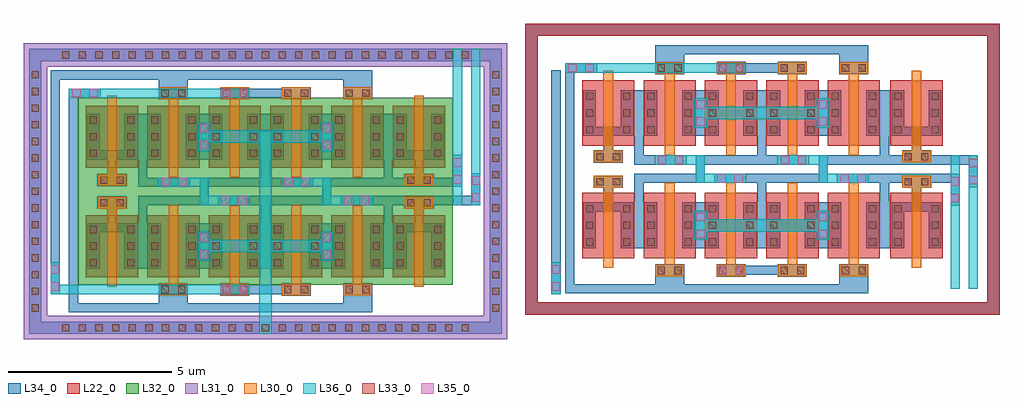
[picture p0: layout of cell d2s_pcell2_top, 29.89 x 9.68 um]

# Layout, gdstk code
import gdstk
lib = gdstk.Library(unit=1e-6, precision=5e-09)
def R(c, l, rs):  # rectangles x0, y0, x1, y1
    for r in rs: c.add(gdstk.rectangle(r[:2], r[2:], *l))
def A(c, l, x, y, w, h, nx, ny, dx, dy):  # array of equal rectangles
    R(c, l, [(x+i*dx, y+j*dy, x+i*dx+w, y+j*dy+h) for i in range(nx) for j in range(ny)])
L22_0 = (22, 0)
L30_0 = (30, 0)
L31_0 = (31, 0)
L32_0 = (32, 0)
L33_0 = (33, 0)
L34_0 = (34, 0)
L35_0 = (35, 0)
L36_0 = (36, 0)

d2s_pcell2_1_1 = lib.new_cell('d2s_pcell2_1$1')
R(d2s_pcell2_1_1, L22_0, [(0,0.3,0.46,2.3), (0.46,0.3,1.14,2.3), (1.14,0.3,1.6,2.3)])
R(d2s_pcell2_1_1, L30_0, [(0.65,0,0.95,2.6)])
A(d2s_pcell2_1_1, L33_0, 0.12, 0.68, 0.22, 0.22, 1, 3, 0, 0.51)
A(d2s_pcell2_1_1, L33_0, 1.26, 0.68, 0.22, 0.22, 1, 3, 0, 0.51)
R(d2s_pcell2_1_1, L34_0, [(0.04,0.6,0.42,2), (1.18,0.6,1.56,2)])

d2s_pcell2_4 = lib.new_cell('d2s_pcell2_4')
A(d2s_pcell2_4, L30_0, 2.245, 2.725, 0.87, 0.36, 4, 1, 1.88, 0)
R(d2s_pcell2_4, L30_0, [(0.365,0.01,1.235,0.37), (9.805,0.01,10.675,0.37)])
R(d2s_pcell2_4, L33_0, [(0.435,0.08,0.655,0.3), (0.945,0.08,1.165,0.3), (9.875,0.08,10.095,0.3), (10.385,0.08,10.605,0.3), (2.315,2.795,2.535,3.015), (2.825,2.795,3.045,3.015), (4.195,2.795,4.415,3.015), (4.705,2.795,4.925,3.015), (6.075,2.795,6.295,3.015), (6.585,2.795,6.805,3.015), (7.955,2.795,8.175,3.015), (8.465,2.795,8.685,3.015)])
A(d2s_pcell2_4, L34_0, 1.56, 0.825, 0.36, 1.4, 5, 1, 1.88, 0)
R(d2s_pcell2_4, L34_0, [(0.355,0,1.245,0.38), (9.795,0,10.685,0.38), (2.235,2.715,3.125,3.605), (4.115,2.715,5.005,3.095), (5.995,2.715,6.885,3.095), (7.875,2.715,8.765,3.605)])
R(d2s_pcell2_4, L35_0, [(3.49,1.135,3.75,1.395), (7.25,1.135,7.51,1.395), (3.49,1.655,3.75,1.915), (7.25,1.655,7.51,1.915), (4.17,2.775,4.43,3.035), (4.69,2.775,4.95,3.035)])
R(d2s_pcell2_4, L36_0, [(3.43,1.08,3.81,1.97), (7.19,1.08,7.57,1.97)])
d2s_pcell2_4.add(gdstk.FlexPath([(0.8,0.38),(0.8,0.825)], 0.28, ends="flush", simple_path=True, layer=34, datatype=0))  # L34_0
d2s_pcell2_4.add(gdstk.FlexPath([(1.18,0.965),(0.42,0.965)], 0.28, ends="flush", simple_path=True, layer=34, datatype=0))  # L34_0
d2s_pcell2_4.add(gdstk.FlexPath([(10.24,0.38),(10.24,0.825)], 0.28, ends="flush", simple_path=True, layer=34, datatype=0))  # L34_0
d2s_pcell2_4.add(gdstk.FlexPath([(10.62,0.965),(9.86,0.965)], 0.28, ends="flush", simple_path=True, layer=34, datatype=0))  # L34_0
d2s_pcell2_4.add(gdstk.FlexPath([(5.995,2.905),(5.005,2.905)], 0.28, ends="flush", simple_path=True, layer=34, datatype=0))  # L34_0
d2s_pcell2_4.add(gdstk.FlexPath([(8.765,3.465),(2.235,3.465)], 0.28, ends="flush", simple_path=True, layer=34, datatype=0))  # L34_0
d2s_pcell2_4.add(gdstk.FlexPath([(3.81,1.525),(7.19,1.525)], 0.38, ends="flush", simple_path=True, layer=36, datatype=0))  # L36_0
d2s_pcell2_4.add(gdstk.Reference(d2s_pcell2_1_1, (0,0.225)))
d2s_pcell2_4.add(gdstk.Reference(d2s_pcell2_1_1, (1.88,0.225)))
d2s_pcell2_4.add(gdstk.Reference(d2s_pcell2_1_1, (3.76,0.225)))
d2s_pcell2_4.add(gdstk.Reference(d2s_pcell2_1_1, (5.64,0.225)))
d2s_pcell2_4.add(gdstk.Reference(d2s_pcell2_1_1, (7.52,0.225)))
d2s_pcell2_4.add(gdstk.Reference(d2s_pcell2_1_1, (9.44,0.225)))

d2s_ncell_1_1_1 = lib.new_cell('d2s_ncell_1$1$1')
R(d2s_ncell_1_1_1, L22_0, [(0,0.3,0.46,2.2), (0.46,0.3,1.14,2.2), (1.14,0.3,1.6,2.2)])
R(d2s_ncell_1_1_1, L30_0, [(0.65,0,0.95,2.5)])
A(d2s_ncell_1_1_1, L33_0, 0.12, 0.63, 0.22, 0.22, 1, 3, 0, 0.51)
A(d2s_ncell_1_1_1, L33_0, 1.26, 0.63, 0.22, 0.22, 1, 3, 0, 0.51)
R(d2s_ncell_1_1_1, L34_0, [(0.04,0.55,0.42,1.95), (1.18,0.55,1.56,1.95)])

d2s_ncell_4_1 = lib.new_cell('d2s_ncell_4$1')
A(d2s_ncell_4_1, L30_0, 2.245, 2.4, 0.87, 0.36, 4, 1, 1.88, 0)
R(d2s_ncell_4_1, L30_0, [(0.365,-0.26,1.235,0.1), (9.765,-0.26,10.635,0.1)])
R(d2s_ncell_4_1, L33_0, [(0.435,-0.19,0.655,0.03), (0.945,-0.19,1.165,0.03), (9.835,-0.19,10.055,0.03), (10.345,-0.19,10.565,0.03), (2.315,2.47,2.535,2.69), (2.825,2.47,3.045,2.69), (4.195,2.47,4.415,2.69), (4.705,2.47,4.925,2.69), (6.075,2.47,6.295,2.69), (6.585,2.47,6.805,2.69), (7.955,2.47,8.175,2.69), (8.465,2.47,8.685,2.69)])
A(d2s_ncell_4_1, L34_0, 1.56, 0.55, 0.36, 1.4, 5, 1, 1.88, 0)
R(d2s_ncell_4_1, L34_0, [(0.355,-0.27,1.245,0.11), (9.755,-0.27,10.645,0.11), (2.235,2.39,3.125,3.28), (4.115,2.39,5.005,2.77), (5.995,2.39,6.885,2.77), (7.875,2.39,8.765,3.28)])
R(d2s_ncell_4_1, L35_0, [(3.49,0.86,3.75,1.12), (7.25,0.86,7.51,1.12), (3.49,1.38,3.75,1.64), (7.25,1.38,7.51,1.64), (4.17,2.45,4.43,2.71), (4.69,2.45,4.95,2.71)])
R(d2s_ncell_4_1, L36_0, [(3.43,0.805,3.81,1.695), (7.19,0.805,7.57,1.695)])
d2s_ncell_4_1.add(gdstk.FlexPath([(0.8,0.11),(0.8,0.55)], 0.28, ends="flush", simple_path=True, layer=34, datatype=0))  # L34_0
d2s_ncell_4_1.add(gdstk.FlexPath([(0.42,0.69),(1.18,0.69)], 0.28, ends="flush", simple_path=True, layer=34, datatype=0))  # L34_0
d2s_ncell_4_1.add(gdstk.FlexPath([(9.82,0.69),(10.58,0.69)], 0.28, ends="flush", simple_path=True, layer=34, datatype=0))  # L34_0
d2s_ncell_4_1.add(gdstk.FlexPath([(10.2,0.11),(10.2,0.55)], 0.28, ends="flush", simple_path=True, layer=34, datatype=0))  # L34_0
d2s_ncell_4_1.add(gdstk.FlexPath([(5.995,2.58),(5.005,2.58)], 0.28, ends="flush", simple_path=True, layer=34, datatype=0))  # L34_0
d2s_ncell_4_1.add(gdstk.FlexPath([(8.765,3.14),(2.235,3.14)], 0.28, ends="flush", simple_path=True, layer=34, datatype=0))  # L34_0
d2s_ncell_4_1.add(gdstk.FlexPath([(3.81,1.25),(7.19,1.25)], 0.38, ends="flush", simple_path=True, layer=36, datatype=0))  # L36_0
d2s_ncell_4_1.add(gdstk.Reference(d2s_ncell_1_1_1, (0,0)))
d2s_ncell_4_1.add(gdstk.Reference(d2s_ncell_1_1_1, (1.88,0)))
d2s_ncell_4_1.add(gdstk.Reference(d2s_ncell_1_1_1, (3.76,0)))
d2s_ncell_4_1.add(gdstk.Reference(d2s_ncell_1_1_1, (5.64,0)))
d2s_ncell_4_1.add(gdstk.Reference(d2s_ncell_1_1_1, (7.52,0)))
d2s_ncell_4_1.add(gdstk.Reference(d2s_ncell_1_1_1, (9.4,0)))

d2s_pcell2_top = lib.new_cell('d2s_pcell2_top')
R(d2s_pcell2_top, L32_0, [(-13.66,0.85,-2.18,6.58)])
A(d2s_pcell2_top, L33_0, -14.15, -0.57, 0.22, 0.22, 25, 2, 0.51, 8.35)
A(d2s_pcell2_top, L33_0, -15.08, 0.035, 0.22, 0.22, 1, 15, 0, 0.51)
A(d2s_pcell2_top, L33_0, -0.98, 0.035, 0.22, 0.22, 1, 15, 0, 0.51)
R(d2s_pcell2_top, L35_0, [(-14.49,0.67,-14.23,0.93), (0.845,0.67,1.105,0.93), (-14.49,1.19,-14.23,1.45), (0.845,1.19,1.105,1.45), (-9.28,3.305,-9.02,3.565), (-8.76,3.305,-8.5,3.565), (-5.52,3.305,-5.26,3.565), (-5,3.305,-4.74,3.565), (13.065,3.375,13.325,3.635), (-1.61,3.395,-1.35,3.655), (-11.1,3.865,-10.84,4.125), (-10.58,3.865,-10.32,4.125), (-7.34,3.865,-7.08,4.125), (-6.82,3.865,-6.56,4.125), (13.065,3.895,13.325,4.155), (-1.61,3.915,-1.35,4.175), (13.625,3.935,13.885,4.195), (-2.17,3.955,-1.91,4.215), (5.915,3.985,6.175,4.245), (6.435,3.985,6.695,4.245), (9.675,3.985,9.935,4.245), (10.195,3.985,10.455,4.245), (13.625,4.455,13.885,4.715), (-2.17,4.475,-1.91,4.735), (4.095,4.545,4.355,4.805), (4.615,4.545,4.875,4.805), (7.855,4.545,8.115,4.805), (8.375,4.545,8.635,4.805), (-13.84,6.59,-13.58,6.85), (-13.32,6.59,-13.06,6.85), (1.355,7.365,1.615,7.625), (1.875,7.365,2.135,7.625)])
d2s_pcell2_top.add(gdstk.FlexPath([(-13.8,6.86),(-13.8,0.29)], 0.28, ends="flush", simple_path=True, layer=34, datatype=0))  # L34_0
d2s_pcell2_top.add(gdstk.FlexPath([(-14.36,7.42),(-14.36,0.57)], 0.28, ends="flush", simple_path=True, layer=34, datatype=0))  # L34_0
d2s_pcell2_top.add(gdstk.FlexPath([(-2.04,4.835),(-2.04,3.855)], 0.28, ends="flush", simple_path=True, layer=34, datatype=0))  # L34_0
d2s_pcell2_top.add(gdstk.FlexPath([(-4.02,3.435),(-1.62,3.435)], 0.28, ends="flush", simple_path=True, layer=34, datatype=0))  # L34_0
d2s_pcell2_top.add(gdstk.FlexPath([(-1.48,4.275),(-1.48,3.295)], 0.28, ends="flush", simple_path=True, layer=34, datatype=0))  # L34_0
d2s_pcell2_top.add(gdstk.FlexPath([(-12.96,6.72),(-13.94,6.72)], 0.28, ends="flush", simple_path=True, layer=34, datatype=0))  # L34_0
d2s_pcell2_top.add(gdstk.FlexPath([(-11.185,7.28),(-14.22,7.28)], 0.28, ends="flush", simple_path=True, layer=34, datatype=0))  # L34_0
d2s_pcell2_top.add(gdstk.FlexPath([(-11.185,0.15),(-13.94,0.15)], 0.28, ends="flush", simple_path=True, layer=34, datatype=0))  # L34_0
d2s_pcell2_top.add(gdstk.FlexPath([(-0.87,8.08),(-0.87,-0.46),(-14.97,-0.46),(-14.97,7.89),(-1.06,7.89)], 0.38, ends="flush", simple_path=True, layer=34, datatype=0))  # L34_0
d2s_pcell2_top.add(gdstk.FlexPath([(-4.16,4.69),(-4.16,4.135)], 0.28, ends="flush", simple_path=True, layer=34, datatype=0))  # L34_0
d2s_pcell2_top.add(gdstk.FlexPath([(-7.92,4.69),(-7.92,4.135)], 0.28, ends="flush", simple_path=True, layer=34, datatype=0))  # L34_0
d2s_pcell2_top.add(gdstk.FlexPath([(-11.68,4.69),(-11.68,4.135)], 0.28, ends="flush", simple_path=True, layer=34, datatype=0))  # L34_0
d2s_pcell2_top.add(gdstk.FlexPath([(-8.4,3.995),(-9.8,3.995),(-9.8,3.435),(-11.2,3.435)], 0.28, ends="flush", simple_path=True, layer=34, datatype=0))  # L34_0
d2s_pcell2_top.add(gdstk.FlexPath([(-10.22,3.995),(-11.2,3.995)], 0.28, ends="flush", simple_path=True, layer=34, datatype=0))  # L34_0
d2s_pcell2_top.add(gdstk.FlexPath([(-8.4,3.435),(-9.38,3.435)], 0.28, ends="flush", simple_path=True, layer=34, datatype=0))  # L34_0
d2s_pcell2_top.add(gdstk.FlexPath([(-8.4,3.995),(-7.44,3.995)], 0.28, ends="flush", simple_path=True, layer=34, datatype=0))  # L34_0
d2s_pcell2_top.add(gdstk.FlexPath([(-8.4,3.435),(-7.44,3.435)], 0.28, ends="flush", simple_path=True, layer=34, datatype=0))  # L34_0
d2s_pcell2_top.add(gdstk.FlexPath([(-11.2,3.995),(-11.82,3.995)], 0.28, ends="flush", simple_path=True, layer=34, datatype=0))  # L34_0
d2s_pcell2_top.add(gdstk.FlexPath([(-11.2,3.435),(-11.82,3.435)], 0.28, ends="flush", simple_path=True, layer=34, datatype=0))  # L34_0
d2s_pcell2_top.add(gdstk.FlexPath([(-7.92,4.69),(-7.92,4.135)], 0.28, ends="flush", simple_path=True, layer=34, datatype=0))  # L34_0
d2s_pcell2_top.add(gdstk.FlexPath([(-4.64,3.995),(-6.04,3.995),(-6.04,3.435),(-7.44,3.435)], 0.28, ends="flush", simple_path=True, layer=34, datatype=0))  # L34_0
d2s_pcell2_top.add(gdstk.FlexPath([(-6.46,3.995),(-7.44,3.995)], 0.28, ends="flush", simple_path=True, layer=34, datatype=0))  # L34_0
d2s_pcell2_top.add(gdstk.FlexPath([(-4.64,3.435),(-5.62,3.435)], 0.28, ends="flush", simple_path=True, layer=34, datatype=0))  # L34_0
d2s_pcell2_top.add(gdstk.FlexPath([(-4.02,3.995),(-4.64,3.995)], 0.28, ends="flush", simple_path=True, layer=34, datatype=0))  # L34_0
d2s_pcell2_top.add(gdstk.FlexPath([(-4.02,3.435),(-4.64,3.435)], 0.28, ends="flush", simple_path=True, layer=34, datatype=0))  # L34_0
d2s_pcell2_top.add(gdstk.FlexPath([(-4.16,3.295),(-4.16,2.74)], 0.28, ends="flush", simple_path=True, layer=34, datatype=0))  # L34_0
d2s_pcell2_top.add(gdstk.FlexPath([(-7.92,3.295),(-7.92,2.74)], 0.28, ends="flush", simple_path=True, layer=34, datatype=0))  # L34_0
d2s_pcell2_top.add(gdstk.FlexPath([(-11.68,3.295),(-11.68,2.74)], 0.28, ends="flush", simple_path=True, layer=34, datatype=0))  # L34_0
d2s_pcell2_top.add(gdstk.FlexPath([(-7.92,3.295),(-7.92,2.74)], 0.28, ends="flush", simple_path=True, layer=34, datatype=0))  # L34_0
d2s_pcell2_top.add(gdstk.FlexPath([(-4.02,3.995),(-2.18,3.995)], 0.28, ends="flush", simple_path=True, layer=34, datatype=0))  # L34_0
d2s_pcell2_top.add(gdstk.FlexPath([(11.035,5.415),(11.035,4.815)], 0.28, ends="flush", simple_path=True, layer=34, datatype=0))  # L34_0
d2s_pcell2_top.add(gdstk.FlexPath([(7.275,5.415),(7.275,4.815)], 0.28, ends="flush", simple_path=True, layer=34, datatype=0))  # L34_0
d2s_pcell2_top.add(gdstk.FlexPath([(3.515,5.415),(3.515,4.815)], 0.28, ends="flush", simple_path=True, layer=34, datatype=0))  # L34_0
d2s_pcell2_top.add(gdstk.FlexPath([(6.795,4.675),(5.395,4.675),(5.395,4.115),(3.995,4.115)], 0.28, ends="flush", simple_path=True, layer=34, datatype=0))  # L34_0
d2s_pcell2_top.add(gdstk.FlexPath([(4.975,4.675),(3.995,4.675)], 0.28, ends="flush", simple_path=True, layer=34, datatype=0))  # L34_0
d2s_pcell2_top.add(gdstk.FlexPath([(6.795,4.115),(5.815,4.115)], 0.28, ends="flush", simple_path=True, layer=34, datatype=0))  # L34_0
d2s_pcell2_top.add(gdstk.FlexPath([(6.795,4.675),(7.755,4.675)], 0.28, ends="flush", simple_path=True, layer=34, datatype=0))  # L34_0
d2s_pcell2_top.add(gdstk.FlexPath([(6.795,4.115),(7.755,4.115)], 0.28, ends="flush", simple_path=True, layer=34, datatype=0))  # L34_0
d2s_pcell2_top.add(gdstk.FlexPath([(3.995,4.675),(3.375,4.675)], 0.28, ends="flush", simple_path=True, layer=34, datatype=0))  # L34_0
d2s_pcell2_top.add(gdstk.FlexPath([(3.995,4.115),(3.375,4.115)], 0.28, ends="flush", simple_path=True, layer=34, datatype=0))  # L34_0
d2s_pcell2_top.add(gdstk.FlexPath([(7.275,5.415),(7.275,4.815)], 0.28, ends="flush", simple_path=True, layer=34, datatype=0))  # L34_0
d2s_pcell2_top.add(gdstk.FlexPath([(10.555,4.675),(9.155,4.675),(9.155,4.115),(7.755,4.115)], 0.28, ends="flush", simple_path=True, layer=34, datatype=0))  # L34_0
d2s_pcell2_top.add(gdstk.FlexPath([(8.735,4.675),(7.755,4.675)], 0.28, ends="flush", simple_path=True, layer=34, datatype=0))  # L34_0
d2s_pcell2_top.add(gdstk.FlexPath([(10.555,4.115),(9.575,4.115)], 0.28, ends="flush", simple_path=True, layer=34, datatype=0))  # L34_0
d2s_pcell2_top.add(gdstk.FlexPath([(11.175,4.675),(10.555,4.675)], 0.28, ends="flush", simple_path=True, layer=34, datatype=0))  # L34_0
d2s_pcell2_top.add(gdstk.FlexPath([(11.175,4.115),(10.555,4.115)], 0.28, ends="flush", simple_path=True, layer=34, datatype=0))  # L34_0
d2s_pcell2_top.add(gdstk.FlexPath([(11.035,3.975),(11.035,3.375)], 0.28, ends="flush", simple_path=True, layer=34, datatype=0))  # L34_0
d2s_pcell2_top.add(gdstk.FlexPath([(7.275,3.975),(7.275,3.375)], 0.28, ends="flush", simple_path=True, layer=34, datatype=0))  # L34_0
d2s_pcell2_top.add(gdstk.FlexPath([(3.515,3.975),(3.515,3.375)], 0.28, ends="flush", simple_path=True, layer=34, datatype=0))  # L34_0
d2s_pcell2_top.add(gdstk.FlexPath([(7.275,3.975),(7.275,3.375)], 0.28, ends="flush", simple_path=True, layer=34, datatype=0))  # L34_0
d2s_pcell2_top.add(gdstk.FlexPath([(13.755,4.815),(13.755,3.835)], 0.28, ends="flush", simple_path=True, layer=34, datatype=0))  # L34_0
d2s_pcell2_top.add(gdstk.FlexPath([(13.195,4.255),(13.195,3.275)], 0.28, ends="flush", simple_path=True, layer=34, datatype=0))  # L34_0
d2s_pcell2_top.add(gdstk.FlexPath([(11.175,4.115),(13.335,4.115)], 0.28, ends="flush", simple_path=True, layer=34, datatype=0))  # L34_0
d2s_pcell2_top.add(gdstk.FlexPath([(14.365,8.855),(14.365,0.125),(0.225,0.125),(0.225,8.665),(14.175,8.665)], 0.38, ends="flush", simple_path=True, layer=34, datatype=0))  # L34_0
d2s_pcell2_top.add(gdstk.FlexPath([(11.175,4.675),(13.615,4.675)], 0.28, ends="flush", simple_path=True, layer=34, datatype=0))  # L34_0
d2s_pcell2_top.add(gdstk.FlexPath([(1.395,7.635),(1.395,0.875)], 0.28, ends="flush", simple_path=True, layer=34, datatype=0))  # L34_0
d2s_pcell2_top.add(gdstk.FlexPath([(4.01,0.735),(1.255,0.735)], 0.28, ends="flush", simple_path=True, layer=34, datatype=0))  # L34_0
d2s_pcell2_top.add(gdstk.FlexPath([(2.235,7.495),(1.255,7.495)], 0.28, ends="flush", simple_path=True, layer=34, datatype=0))  # L34_0
d2s_pcell2_top.add(gdstk.FlexPath([(0.975,7.42),(0.975,0.57)], 0.28, ends="flush", simple_path=True, layer=34, datatype=0))  # L34_0
d2s_pcell2_top.add(gdstk.FlexPath([(14.365,8.855),(14.365,0.125),(0.225,0.125),(0.225,8.665),(14.175,8.665)], 0.38, ends="flush", simple_path=True, layer=22, datatype=0))  # L22_0
d2s_pcell2_top.add(gdstk.FlexPath([(-8.41,6.72),(-13.94,6.72)], 0.28, ends="flush", simple_path=True, layer=36, datatype=0))  # L36_0
d2s_pcell2_top.add(gdstk.FlexPath([(-8.41,0.71),(-14.22,0.71)], 0.28, ends="flush", simple_path=True, layer=36, datatype=0))  # L36_0
d2s_pcell2_top.add(gdstk.FlexPath([(-1.48,8.08),(-1.48,3.295)], 0.28, ends="flush", simple_path=True, layer=36, datatype=0))  # L36_0
d2s_pcell2_top.add(gdstk.FlexPath([(-2.04,4.835),(-2.04,3.855)], 0.28, ends="flush", simple_path=True, layer=36, datatype=0))  # L36_0
d2s_pcell2_top.add(gdstk.FlexPath([(-1.48,4.275),(-1.48,3.295)], 0.28, ends="flush", simple_path=True, layer=36, datatype=0))  # L36_0
d2s_pcell2_top.add(gdstk.FlexPath([(-2.04,8.08),(-2.04,3.295)], 0.28, ends="flush", simple_path=True, layer=36, datatype=0))  # L36_0
d2s_pcell2_top.add(gdstk.FlexPath([(-14.36,0.57),(-14.36,1.55)], 0.28, ends="flush", simple_path=True, layer=36, datatype=0))  # L36_0
d2s_pcell2_top.add(gdstk.FlexPath([(-4.64,3.435),(-6.04,3.435),(-6.04,3.995),(-7.44,3.995)], 0.28, ends="flush", simple_path=True, layer=36, datatype=0))  # L36_0
d2s_pcell2_top.add(gdstk.FlexPath([(-8.4,3.435),(-9.8,3.435),(-9.8,3.995),(-11.2,3.995)], 0.28, ends="flush", simple_path=True, layer=36, datatype=0))  # L36_0
d2s_pcell2_top.add(gdstk.FlexPath([(-7.92,5.2),(-7.92,-0.65)], 0.38, ends="flush", simple_path=True, layer=36, datatype=0))  # L36_0
d2s_pcell2_top.add(gdstk.FlexPath([(10.555,4.115),(9.155,4.115),(9.155,4.675),(7.755,4.675)], 0.28, ends="flush", simple_path=True, layer=36, datatype=0))  # L36_0
d2s_pcell2_top.add(gdstk.FlexPath([(6.795,4.115),(5.395,4.115),(5.395,4.675),(3.995,4.675)], 0.28, ends="flush", simple_path=True, layer=36, datatype=0))  # L36_0
d2s_pcell2_top.add(gdstk.FlexPath([(13.755,4.815),(13.755,0.73)], 0.28, ends="flush", simple_path=True, layer=36, datatype=0))  # L36_0
d2s_pcell2_top.add(gdstk.FlexPath([(13.755,4.815),(13.755,3.835)], 0.28, ends="flush", simple_path=True, layer=36, datatype=0))  # L36_0
d2s_pcell2_top.add(gdstk.FlexPath([(13.195,4.255),(13.195,3.275)], 0.28, ends="flush", simple_path=True, layer=36, datatype=0))  # L36_0
d2s_pcell2_top.add(gdstk.FlexPath([(13.195,4.815),(13.195,0.73)], 0.28, ends="flush", simple_path=True, layer=36, datatype=0))  # L36_0
d2s_pcell2_top.add(gdstk.FlexPath([(6.785,7.495),(1.255,7.495)], 0.28, ends="flush", simple_path=True, layer=36, datatype=0))  # L36_0
d2s_pcell2_top.add(gdstk.FlexPath([(0.975,0.57),(0.975,1.55)], 0.28, ends="flush", simple_path=True, layer=36, datatype=0))  # L36_0
d2s_pcell2_top.add(gdstk.FlexPath([(-0.87,8.25),(-0.87,-0.46),(-14.97,-0.46),(-14.97,7.89),(-1.07,7.89)], 0.72, ends="flush", simple_path=True, layer=31, datatype=0))  # L31_0
d2s_pcell2_top.add(gdstk.Reference(d2s_pcell2_4, (1.775,4.2), x_reflection=True))
d2s_pcell2_top.add(gdstk.Reference(d2s_ncell_4_1, (-13.42,4.14)))
d2s_pcell2_top.add(gdstk.Reference(d2s_ncell_4_1, (-13.42,3.29), x_reflection=True))
d2s_pcell2_top.add(gdstk.Reference(d2s_pcell2_4, (1.775,4.59)))

lib.write_gds('d2s_pcell2_top.gds')
